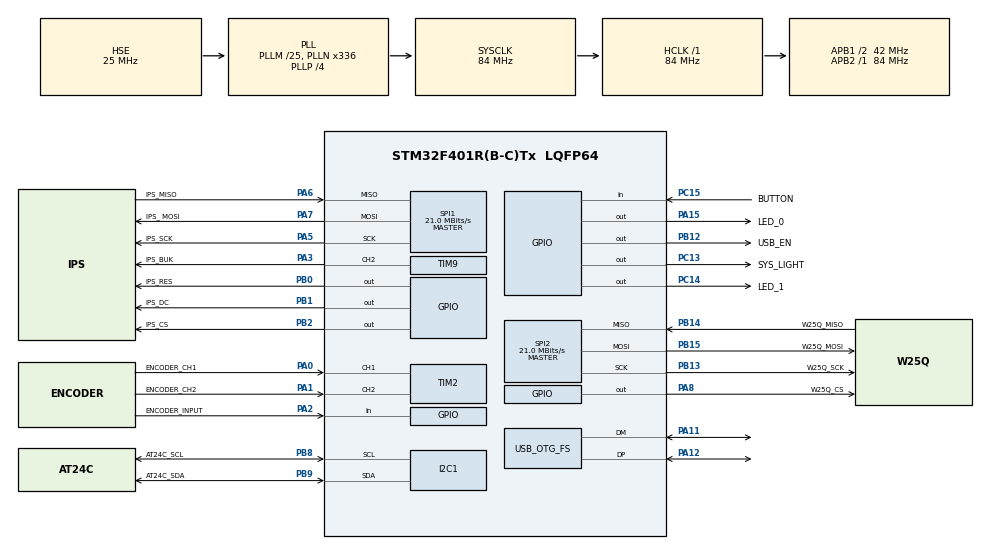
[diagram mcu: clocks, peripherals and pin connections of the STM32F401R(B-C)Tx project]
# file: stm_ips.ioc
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Dma.Request0=SPI1_TX
Dma.Request1=SPI2_RX
Dma.Request2=SPI2_TX
Dma.SPI1_TX.0.Direction=DMA_MEMORY_TO_PERIPH
Dma.SPI1_TX.0.FIFOMode=DMA_FIFOMODE_DISABLE
Dma.SPI1_TX.0.Instance=DMA2_Stream3
Dma.SPI1_TX.0.MemDataAlignment=DMA_MDATAALIGN_BYTE
Dma.SPI1_TX.0.MemInc=DMA_MINC_ENABLE
Dma.SPI1_TX.0.Mode=DMA_NORMAL
Dma.SPI1_TX.0.PeriphDataAlignment=DMA_PDATAALIGN_BYTE
Dma.SPI1_TX.0.PeriphInc=DMA_PINC_DISABLE
Dma.SPI1_TX.0.Priority=DMA_PRIORITY_LOW
Dma.SPI2_RX.1.Direction=DMA_PERIPH_TO_MEMORY
Dma.SPI2_RX.1.FIFOMode=DMA_FIFOMODE_DISABLE
Dma.SPI2_RX.1.Instance=DMA1_Stream3
Dma.SPI2_RX.1.MemDataAlignment=DMA_MDATAALIGN_BYTE
Dma.SPI2_RX.1.MemInc=DMA_MINC_ENABLE
Dma.SPI2_RX.1.Mode=DMA_NORMAL
Dma.SPI2_RX.1.PeriphDataAlignment=DMA_PDATAALIGN_BYTE
Dma.SPI2_RX.1.PeriphInc=DMA_PINC_DISABLE
Dma.SPI2_RX.1.Priority=DMA_PRIORITY_LOW
Dma.SPI2_TX.2.Direction=DMA_MEMORY_TO_PERIPH
Dma.SPI2_TX.2.FIFOMode=DMA_FIFOMODE_DISABLE
Dma.SPI2_TX.2.Instance=DMA1_Stream4
Dma.SPI2_TX.2.MemDataAlignment=DMA_MDATAALIGN_BYTE
Dma.SPI2_TX.2.MemInc=DMA_MINC_ENABLE
Dma.SPI2_TX.2.Mode=DMA_NORMAL
Dma.SPI2_TX.2.PeriphDataAlignment=DMA_PDATAALIGN_BYTE
Dma.SPI2_TX.2.PeriphInc=DMA_PINC_DISABLE
Dma.SPI2_TX.2.Priority=DMA_PRIORITY_LOW
I2C1.I2C_Mode=I2C_Fast
Mcu.Family=STM32F4
Mcu.Name=STM32F401R(B-C)Tx
Mcu.Package=LQFP64
NVIC.DMA1_Stream3_IRQn=true\:0\:0\:false\:false\:true\:false\:true\:true
NVIC.DMA1_Stream4_IRQn=true\:0\:0\:false\:false\:true\:false\:true\:true
NVIC.DMA2_Stream3_IRQn=true\:0\:0\:false\:false\:true\:false\:true\:true
NVIC.OTG_FS_IRQn=true\:0\:0\:false\:false\:true\:false\:true\:true
NVIC.PriorityGroup=NVIC_PRIORITYGROUP_4
NVIC.TIM3_IRQn=true\:0\:0\:false\:false\:true\:true\:true\:true
PA0-WKUP.GPIO_Label=ENCODER_CH1
PA0-WKUP.Signal=S_TIM2_CH1_ETR
PA1.GPIO_Label=ENCODER_CH2
PA1.Signal=S_TIM2_CH2
PA11.Mode=Device_Only
PA11.Signal=USB_OTG_FS_DM
PA12.Mode=Device_Only
PA12.Signal=USB_OTG_FS_DP
PA13.Mode=Serial_Wire
PA13.Signal=SYS_JTMS-SWDIO
PA14.Mode=Serial_Wire
PA14.Signal=SYS_JTCK-SWCLK
PA15.GPIO_Label=LED_0
PA15.GPIO_PuPd=GPIO_PULLUP
PA15.PinState=GPIO_PIN_RESET
PA15.Signal=GPIO_Output
PA2.GPIO_Label=ENCODER_INPUT
PA2.GPIO_PuPd=GPIO_PULLUP
PA2.Signal=GPIO_Input
PA3.GPIO_Label=IPS_BUK
PA3.Signal=S_TIM9_CH2
PA5.GPIO_Label=IPS_SCK
PA5.Mode=Full_Duplex_Master
PA5.Signal=SPI1_SCK
PA6.GPIO_Label=IPS_MISO
PA6.Mode=Full_Duplex_Master
PA6.Signal=SPI1_MISO
PA7.GPIO_Label=IPS_ MOSI
PA7.Mode=Full_Duplex_Master
PA7.Signal=SPI1_MOSI
PA8.GPIO_Label=W25Q_CS
PA8.GPIO_PuPd=GPIO_PULLUP
PA8.GPIO_Speed=GPIO_SPEED_FREQ_HIGH
PA8.PinState=GPIO_PIN_SET
PA8.Signal=GPIO_Output
PB0.GPIO_Label=IPS_RES
PB0.Signal=GPIO_Output
PB1.GPIO_Label=IPS_DC
PB1.Signal=GPIO_Output
PB12.GPIO_Label=USB_EN
PB12.GPIO_PuPd=GPIO_PULLUP
PB12.PinState=GPIO_PIN_SET
PB12.Signal=GPIO_Output
PB13.GPIO_Label=W25Q_SCK
PB13.Mode=Full_Duplex_Master
PB13.Signal=SPI2_SCK
PB14.GPIO_Label=W25Q_MISO
PB14.Mode=Full_Duplex_Master
PB14.Signal=SPI2_MISO
PB15.GPIO_Label=W25Q_MOSI
PB15.Mode=Full_Duplex_Master
PB15.Signal=SPI2_MOSI
PB2.GPIO_Label=IPS_CS
PB2.GPIO_Speed=GPIO_SPEED_FREQ_HIGH
PB2.Signal=GPIO_Output
PB8.GPIO_Label=AT24C_SCL
PB8.Mode=I2C
PB8.Signal=I2C1_SCL
PB9.GPIO_Label=AT24C_SDA
PB9.Mode=I2C
PB9.Signal=I2C1_SDA
PC13-ANTI_TAMP.GPIO_Label=SYS_LIGHT
PC13-ANTI_TAMP.GPIO_PuPd=GPIO_PULLUP
PC13-ANTI_TAMP.Signal=GPIO_Output
PC14-OSC32_IN.GPIO_Label=LED_1
PC14-OSC32_IN.GPIO_PuPd=GPIO_PULLUP
PC14-OSC32_IN.PinState=GPIO_PIN_RESET
PC14-OSC32_IN.Signal=GPIO_Output
PC15-OSC32_OUT.GPIO_Label=BUTTON
PC15-OSC32_OUT.Signal=GPIO_Input
PH0\ -\ OSC_IN.Mode=HSE-External-Oscillator
PH0\ -\ OSC_IN.Signal=RCC_OSC_IN
PH1\ -\ OSC_OUT.Mode=HSE-External-Oscillator
PH1\ -\ OSC_OUT.Signal=RCC_OSC_OUT
ProjectManager.HeapSize=0x200
ProjectManager.StackSize=0x400
ProjectManager.TargetToolchain=STM32CubeIDE
RCC.48MHZClocksFreq_Value=48000000
RCC.AHBFreq_Value=84000000
RCC.APB1CLKDivider=RCC_HCLK_DIV2
RCC.APB1Freq_Value=42000000
RCC.APB1TimFreq_Value=84000000
RCC.APB2Freq_Value=84000000
RCC.APB2TimFreq_Value=84000000
RCC.CortexFreq_Value=84000000
RCC.HCLKFreq_Value=84000000
RCC.HSE_VALUE=25000000
RCC.HSI_VALUE=16000000
RCC.LSE_VALUE=32768
RCC.PLLM=25
RCC.PLLN=336
RCC.PLLP=RCC_PLLP_DIV4
RCC.PLLQ=7
RCC.SYSCLKFreq_VALUE=84000000
RCC.SYSCLKSource=RCC_SYSCLKSOURCE_PLLCLK
RCC.VCOOutputFreq_Value=336000000
SH.S_TIM2_CH1_ETR.0=TIM2_CH1,Encoder_Interface
SH.S_TIM2_CH2.0=TIM2_CH2,Encoder_Interface
SH.S_TIM9_CH2.0=TIM9_CH2,PWM Generation2 CH2
SPI1.BaudRatePrescaler=SPI_BAUDRATEPRESCALER_4
SPI1.CalculateBaudRate=21.0 MBits/s
SPI1.DataSize=SPI_DATASIZE_8BIT
SPI1.Direction=SPI_DIRECTION_2LINES
SPI1.FirstBit=SPI_FIRSTBIT_MSB
SPI1.Mode=SPI_MODE_MASTER
SPI1.VirtualType=VM_MASTER
SPI2.BaudRatePrescaler=SPI_BAUDRATEPRESCALER_2
SPI2.CalculateBaudRate=21.0 MBits/s
SPI2.Direction=SPI_DIRECTION_2LINES
SPI2.Mode=SPI_MODE_MASTER
SPI2.VirtualType=VM_MASTER
STMicroelectronics.X-CUBE-ALGOBUILD.1.5.0.LibraryCcDSPOoLibraryJjDSPOoLibrary=true
TIM2.IC1Filter=1
TIM3.Period=1000-1
TIM3.Prescaler=840-1
TIM9.Channel-PWM\ Generation2\ CH2=TIM_CHANNEL_2
TIM9.Period=100-1
TIM9.Prescaler=42-1
USB_DEVICE.CLASS_NAME_FS=CDC
USB_DEVICE.MANUFACTURER_STRING=UnikoZeraMicroelectronics
USB_DEVICE.PID_CDC_FS=0x1145
USB_DEVICE.PRODUCT_STRING_CDC_FS=IPS Visual ComPort
USB_DEVICE.VID=0x721
USB_DEVICE.VirtualMode=Cdc
USB_DEVICE.VirtualModeFS=Cdc_FS
USB_OTG_FS.VirtualMode=Device_Only
VP_STMicroelectronics.X-CUBE-ALGOBUILD_VS_DSPOoLibraryJjLibrary_1.5.0_1.5.0.Mode=DSPOoLibraryJjLibrary
VP_TIM3_VS_ClockSourceINT.Mode=Internal
VP_TIM4_VS_ClockSourceINT.Mode=Internal
VP_TIM9_VS_ClockSourceINT.Mode=Internal
VP_USB_DEVICE_VS_USB_DEVICE_CDC_FS.Mode=CDC_FS
board=custom

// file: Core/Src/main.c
/* USER CODE BEGIN Header */
/**
  ******************************************************************************
  * @file           : main.c
  * @brief          : Main program body
  ******************************************************************************
  * @attention
  *
  * Copyright (c) 2026 STMicroelectronics.
  * All rights reserved.
  *
  * This software is licensed under terms that can be found in the LICENSE file
  * in the root directory of this software component.
  * If no LICENSE file comes with this software, it is provided AS-IS.
  *
  ******************************************************************************
  */
/* USER CODE END Header */
#include "main.h"
#include "dma.h"
#include "i2c.h"
#include "spi.h"
#include "tim.h"
#include "usb_device.h"
#include "gpio.h"

/* USER CODE BEGIN Includes */
#include "lcd.h"
#include "lcd_driver.h"
#include "lcd_ui.h"
#include "w25q_controller.h"
#include "at24c_controller.h"
#include "usb_controller.h"
#include "storage_manager.h"
#include <string.h>
/* USER CODE END Includes */

void SystemClock_Config(void);

int main(void)
{

  /* MCU Configuration--------------------------------------------------------*/

  /* Reset of all peripherals, Initializes the Flash interface and the Systick. */
  HAL_Init();

  /* Configure the system clock */
  SystemClock_Config();

  /* Initialize all configured peripherals */
  MX_GPIO_Init();
  MX_DMA_Init();
  MX_I2C1_Init();
  MX_SPI1_Init();
  MX_SPI2_Init();
  MX_USB_DEVICE_Init();
  MX_TIM2_Init();
  MX_TIM3_Init();
  MX_TIM9_Init();
  MX_TIM4_Init();
  /* USER CODE BEGIN 2 */

  usb_controller_init(&g_usb_controller);
  lcd_init();

  bool w25q_ok = w25q_init();
  bool storage_ok = storage_manager_init();

  // clear_all_files(); // 注意！ 这个函数会清空所有文件，谨慎使用！ 你可以在调试阶段使用它来重置存储状态，但在正常使用时请注释掉以避免误删数据。
  // clear_all_files_manual();

  lcd_ui_init();

  /* USER CODE END 2 */

  /* Infinite loop */
  /* USER CODE BEGIN WHILE */
  while (1)
  {
    lcd_ui_updater();

    if (w25q_ok)
    {
      w25q_dma_task();
    }
    else
    {
      // W25Q初始化失败，显示错误信息（系统基本无法使用了）
      // usb烧录的功能也基本无法使用
      lcd_draw_string(10, 10, RED, BLACK, 8, "W25Q FAIL"); // hopefully this won't happen, if it does then the system is basically unusable anyway
    }

    if (storage_ok)
    {
      storage_manager_task();
    }
    else
    {
      lcd_draw_string(10, 30, RED, BLACK, 8, "STORAGE FAIL"); // 存储管理器初始化失败，可能导致文件操作相关功能无法使用，但其他功能可能不受影响
    }
    // lcd_draw_string(10, 50, YELLOW, BLACK, 8, "STM IPS"); // 显示标题，确认系统至少部分功能正常

    usb_controller_task(&g_usb_controller);

    /* USER CODE END WHILE */

  }
}

void SystemClock_Config(void)
{
  RCC_OscInitTypeDef RCC_OscInitStruct = {0};
  RCC_ClkInitTypeDef RCC_ClkInitStruct = {0};

  /** Configure the main internal regulator output voltage
  */
  __HAL_RCC_PWR_CLK_ENABLE();
  __HAL_PWR_VOLTAGESCALING_CONFIG(PWR_REGULATOR_VOLTAGE_SCALE2);

  /** Initializes the RCC Oscillators according to the specified parameters
  * in the RCC_OscInitTypeDef structure.
  */
  RCC_OscInitStruct.OscillatorType = RCC_OSCILLATORTYPE_HSE;
  RCC_OscInitStruct.HSEState = RCC_HSE_ON;
  RCC_OscInitStruct.PLL.PLLState = RCC_PLL_ON;
  RCC_OscInitStruct.PLL.PLLSource = RCC_PLLSOURCE_HSE;
  RCC_OscInitStruct.PLL.PLLM = 25;
  RCC_OscInitStruct.PLL.PLLN = 336;
  RCC_OscInitStruct.PLL.PLLP = RCC_PLLP_DIV4;
  RCC_OscInitStruct.PLL.PLLQ = 7;
  if (HAL_RCC_OscConfig(&RCC_OscInitStruct) != HAL_OK)
  {
    Error_Handler();
  }

  /** Initializes the CPU, AHB and APB buses clocks
  */
  RCC_ClkInitStruct.ClockType = RCC_CLOCKTYPE_HCLK|RCC_CLOCKTYPE_SYSCLK
                              |RCC_CLOCKTYPE_PCLK1|RCC_CLOCKTYPE_PCLK2;
  RCC_ClkInitStruct.SYSCLKSource = RCC_SYSCLKSOURCE_PLLCLK;
  RCC_ClkInitStruct.AHBCLKDivider = RCC_SYSCLK_DIV1;
  RCC_ClkInitStruct.APB1CLKDivider = RCC_HCLK_DIV2;
  RCC_ClkInitStruct.APB2CLKDivider = RCC_HCLK_DIV1;

  if (HAL_RCC_ClockConfig(&RCC_ClkInitStruct, FLASH_LATENCY_2) != HAL_OK)
  {
    Error_Handler();
  }
}

void Error_Handler(void)
{
  __disable_irq();
  while (1)
  {
  }
}
